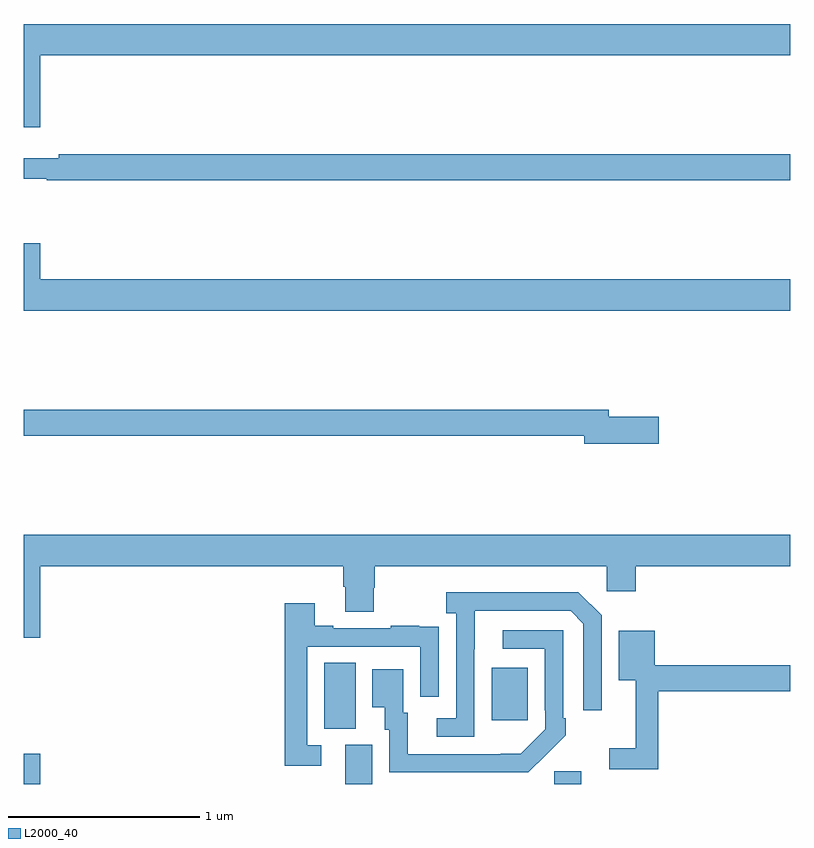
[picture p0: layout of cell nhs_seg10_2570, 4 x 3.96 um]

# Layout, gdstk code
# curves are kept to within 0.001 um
import gdstk
lib = gdstk.Library(unit=1e-6, precision=1e-09)
def R(c, l, rs):  # rectangles x0, y0, x1, y1
    for r in rs: c.add(gdstk.rectangle(r[:2], r[2:], *l))
def P(c, l, *ps):  # polygons
    for p in ps: c.add(gdstk.Polygon(p, *l))
L2000_40 = (2000, 40)

nhs_seg10_2570 = lib.new_cell('nhs_seg10_2570')
R(nhs_seg10_2570, L2000_40, [(249,1312.5,249.088,1312.657), (250.679,1312.5,250.819,1312.704), (251.769,1312.5,251.908,1312.566), (250.568,1312.789,250.732,1313.132), (251.441,1312.833,251.629,1313.107)])
P(nhs_seg10_2570, L2000_40, [(249.088,1316.3),(253,1316.3),(253,1316.464),(249,1316.464),(249,1315.926),(249.088,1315.926)],
  [(253,1315.784),(249.184,1315.784),(249.184,1315.765),(249,1315.765),(249,1315.656),(249.12,1315.656),(249.12,1315.648),(253,1315.648)],
  [(253,1315.132),(249.088,1315.132),(249.088,1315.321),(249,1315.321),(249,1314.968),(253,1314.968)],
  [(252.313,1314.416),(252.052,1314.416),(252.052,1314.452),(249,1314.452),(249,1314.316),(251.924,1314.316),(251.924,1314.274),(252.313,1314.274)],
  [(249.088,1313.636),(250.667,1313.636),(250.667,1313.53),(250.679,1313.53),(250.679,1313.398),(250.827,1313.398),(250.827,1313.523),(250.832,1313.523),(250.832,1313.636),(252.042,1313.636),(252.042,1313.505),(252.194,1313.505),(252.194,1313.636),(253,1313.636),(253,1313.8),(249,1313.8),(249,1313.262),(249.088,1313.262)],
  [(251.352,1313.203),(251.353,1313.403),(251.853,1313.403),(251.919,1313.337),(251.919,1312.884),(252.015,1312.884),(252.015,1313.379),(251.894,1313.5),(251.205,1313.5),(251.205,1313.39),(251.256,1313.39),(251.256,1312.842),(251.154,1312.842),(251.154,1312.746),(251.352,1312.746)],
  [(250.552,1312.701),(250.479,1312.701),(250.479,1313.217),(251.07,1313.217),(251.07,1312.956),(251.166,1312.956),(251.166,1313.21),(251.165,1313.21),(251.165,1313.319),(251.063,1313.319),(251.063,1313.326),(250.915,1313.326),(250.915,1313.313),(250.615,1313.313),(250.615,1313.326),(250.519,1313.326),(250.519,1313.443),(250.363,1313.443),(250.363,1312.596),(250.552,1312.596)],
  [(251.723,1312.651),(251.724,1312.65),(251.829,1312.755),(251.829,1312.843),(251.814,1312.843),(251.814,1313.301),(251.499,1313.301),(251.499,1313.205),(251.718,1313.205),(251.718,1312.885),(251.721,1312.885),(251.721,1312.785),(251.593,1312.657),(251.005,1312.656),(251.005,1312.872),(250.981,1312.872),(250.981,1313.098),(250.82,1313.098),(250.82,1312.901),(250.883,1312.901),(250.883,1312.782),(250.908,1312.782),(250.908,1312.56),(251.632,1312.56)],
  [(252.311,1312.984),(253,1312.984),(253,1313.12),(252.291,1313.12),(252.291,1313.299),(252.104,1313.299),(252.104,1313.042),(252.194,1313.042),(252.194,1312.687),(252.054,1312.687),(252.054,1312.578),(252.311,1312.578)])

lib.write_gds('nhs_seg10_2570.gds')
